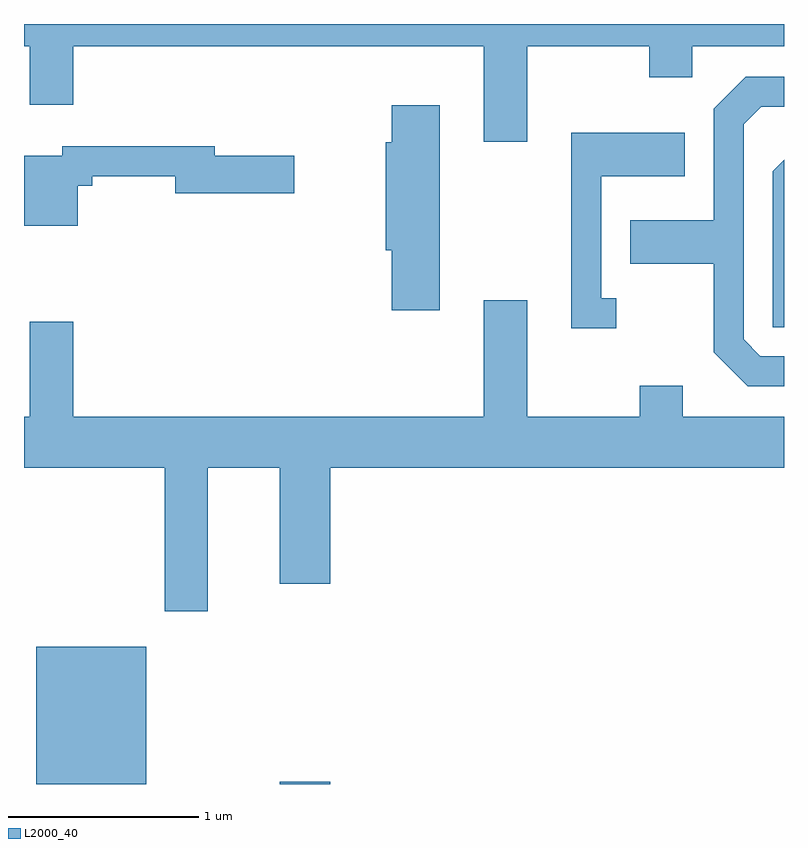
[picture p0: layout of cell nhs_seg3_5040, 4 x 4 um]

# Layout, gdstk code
import gdstk
lib = gdstk.Library(unit=1e-6, precision=1e-09)
def R(c, l, rs):  # rectangles x0, y0, x1, y1
    for r in rs: c.add(gdstk.rectangle(r[:2], r[2:], *l))
def P(c, l, *ps):  # polygons
    for p in ps: c.add(gdstk.Polygon(p, *l))
L2000_40 = (2000, 40)

nhs_seg3_5040 = lib.new_cell('nhs_seg3_5040')
R(nhs_seg3_5040, L2000_40, [(333.676,1139.892,334.254,1140.614), (334.956,1139.892,335.224,1139.904)])
P(nhs_seg3_5040, L2000_40, [(336.259,1143.776),(336.901,1143.776),(336.901,1143.611),(337.129,1143.611),(337.129,1143.776),(337.611,1143.776),(337.611,1143.892),(333.611,1143.892),(333.611,1143.776),(333.641,1143.776),(333.641,1143.466),(333.869,1143.466),(333.869,1143.776),(336.031,1143.776),(336.031,1143.271),(336.259,1143.271)],
  [(337.611,1142.144),(337.487,1142.144),(337.399,1142.232),(337.399,1143.364),(337.492,1143.456),(337.611,1143.456),(337.611,1143.614),(337.409,1143.614),(337.241,1143.447),(337.241,1142.859),(336.801,1142.859),(336.801,1142.631),(337.241,1142.631),(337.241,1142.164),(337.419,1141.986),(337.611,1141.986)],
  [(335.799,1143.464),(335.546,1143.464),(335.546,1143.269),(335.516,1143.269),(335.516,1142.701),(335.546,1142.701),(335.546,1142.386),(335.799,1142.386)],
  [(336.728,1142.449),(336.649,1142.449),(336.649,1143.091),(337.089,1143.091),(337.089,1143.319),(336.491,1143.319),(336.491,1142.291),(336.728,1142.291)],
  [(333.894,1143.041),(333.969,1143.041),(333.969,1143.091),(334.406,1143.091),(334.406,1143.001),(335.034,1143.001),(335.034,1143.199),(334.614,1143.199),(334.614,1143.249),(333.811,1143.249),(333.811,1143.199),(333.611,1143.199),(333.611,1142.831),(333.894,1142.831)],
  [(337.611,1143.177),(337.551,1143.117),(337.551,1142.296),(337.611,1142.296)],
  [(337.611,1141.824),(337.079,1141.824),(337.079,1141.989),(336.851,1141.989),(336.851,1141.824),(336.259,1141.824),(336.259,1142.439),(336.031,1142.439),(336.031,1141.824),(333.869,1141.824),(333.869,1142.324),(333.641,1142.324),(333.641,1141.824),(333.611,1141.824),(333.611,1141.556),(334.351,1141.556),(334.351,1140.801),(334.579,1140.801),(334.579,1141.556),(334.956,1141.556),(334.956,1140.946),(335.224,1140.946),(335.224,1141.556),(337.611,1141.556)])

lib.write_gds('nhs_seg3_5040.gds')
